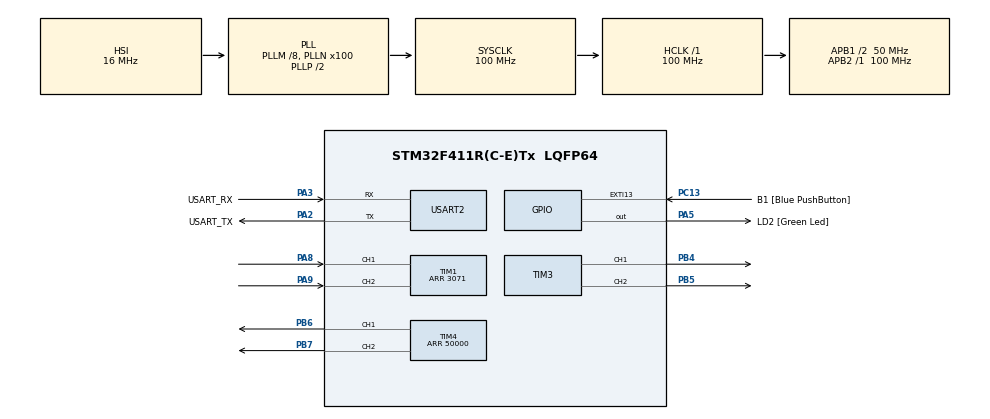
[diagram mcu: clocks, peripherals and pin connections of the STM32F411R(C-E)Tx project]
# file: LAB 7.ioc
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Mcu.Family=STM32F4
Mcu.Name=STM32F411R(C-E)Tx
Mcu.Package=LQFP64
NVIC.PriorityGroup=NVIC_PRIORITYGROUP_0
NVIC.TIM2_IRQn=true\:0\:0\:false\:false\:true\:true\:true
PA13.GPIO_Label=TMS
PA13.Mode=Serial_Wire
PA13.Signal=SYS_JTMS-SWDIO
PA14.GPIO_Label=TCK
PA14.Mode=Serial_Wire
PA14.Signal=SYS_JTCK-SWCLK
PA2.GPIO_Label=USART_TX
PA2.Mode=Asynchronous
PA2.Signal=USART2_TX
PA3.GPIO_Label=USART_RX
PA3.Mode=Asynchronous
PA3.Signal=USART2_RX
PA5.GPIO_Label=LD2 [Green Led]
PA5.Signal=GPIO_Output
PA8.Signal=S_TIM1_CH1
PA9.Signal=S_TIM1_CH2
PB3.GPIO_Label=SWO
PB3.Signal=SYS_JTDO-SWO
PB4.Signal=S_TIM3_CH1
PB5.Signal=S_TIM3_CH2
PB6.Signal=S_TIM4_CH1
PB7.Signal=S_TIM4_CH2
PC13-ANTI_TAMP.GPIO_Label=B1 [Blue PushButton]
PC13-ANTI_TAMP.GPIO_ModeDefaultEXTI=GPIO_MODE_IT_FALLING
PC13-ANTI_TAMP.Signal=GPXTI13
PC14-OSC32_IN.Mode=LSE-External-Oscillator
PC14-OSC32_IN.Signal=RCC_OSC32_IN
PC15-OSC32_OUT.Mode=LSE-External-Oscillator
PC15-OSC32_OUT.Signal=RCC_OSC32_OUT
PH0\ -\ OSC_IN.Mode=HSE-External-Clock-Source
PH0\ -\ OSC_IN.Signal=RCC_OSC_IN
PH1\ -\ OSC_OUT.Mode=HSE-External-Clock-Source
PH1\ -\ OSC_OUT.Signal=RCC_OSC_OUT
ProjectManager.HeapSize=0x200
ProjectManager.StackSize=0x400
ProjectManager.TargetToolchain=STM32CubeIDE
RCC.48MHZClocksFreq_Value=50000000
RCC.AHBFreq_Value=100000000
RCC.APB1CLKDivider=RCC_HCLK_DIV2
RCC.APB1Freq_Value=50000000
RCC.APB1TimFreq_Value=100000000
RCC.APB2Freq_Value=100000000
RCC.APB2TimFreq_Value=100000000
RCC.CortexFreq_Value=100000000
RCC.FLatency-AdvancedSettings=FLASH_LATENCY_3
RCC.HCLKFreq_Value=100000000
RCC.HSE_VALUE=8000000
RCC.HSI_VALUE=16000000
RCC.PLLM=8
RCC.PLLN=100
RCC.SYSCLKFreq_VALUE=100000000
RCC.SYSCLKSource=RCC_SYSCLKSOURCE_PLLCLK
RCC.VCOOutputFreq_Value=200000000
SH.S_TIM1_CH1.0=TIM1_CH1,Encoder_Interface
SH.S_TIM1_CH2.0=TIM1_CH2,Encoder_Interface
SH.S_TIM3_CH1.0=TIM3_CH1,PWM Generation1 CH1
SH.S_TIM3_CH2.0=TIM3_CH2,PWM Generation2 CH2
SH.S_TIM4_CH1.0=TIM4_CH1,PWM Generation1 CH1
SH.S_TIM4_CH2.0=TIM4_CH2,PWM Generation2 CH2
TIM1.Period=3071
TIM2.Prescaler=99
TIM3.Channel-PWM\ Generation1\ CH1=TIM_CHANNEL_1
TIM3.Channel-PWM\ Generation2\ CH2=TIM_CHANNEL_2
TIM4.Channel-PWM\ Generation1\ CH1=TIM_CHANNEL_1
TIM4.Channel-PWM\ Generation2\ CH2=TIM_CHANNEL_2
TIM4.Period=50000
USART2.VirtualMode=VM_ASYNC
VP_TIM2_VS_ClockSourceINT.Mode=Internal
VP_TIM4_VS_ClockSourceINT.Mode=Internal
board=NUCLEO-F411RE

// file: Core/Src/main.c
/* USER CODE BEGIN Header */
/**
 ******************************************************************************
 * @file           : main.c
 * @brief          : Main program body
 ******************************************************************************
 * @attention
 *
 * <h2><center>&copy; Copyright (c) 2021 STMicroelectronics.
 * All rights reserved.</center></h2>
 *
 * This software component is licensed by ST under BSD 3-Clause license,
 * the "License"; You may not use this file except in compliance with the
 * License. You may obtain a copy of the License at:
 *                        opensource.org/licenses/BSD-3-Clause
 *
 ******************************************************************************
 */
/* USER CODE END Header */
#include "main.h"

TIM_HandleTypeDef htim1;
TIM_HandleTypeDef htim2;
TIM_HandleTypeDef htim3;
TIM_HandleTypeDef htim4;

UART_HandleTypeDef huart2;

/* USER CODE BEGIN PV */
uint64_t _micros = 0;
float EncoderVel = 0;
uint64_t Timestamp_Encoder = 0;
float PWM1 = 0;
float PWM2 = 0;
float rpmsetpoint = 0;
float rpmnow = 0;
float error = 0;
float P = 0;
float Kp = 0;
float I = 0;
float Ki = 0;
float D = 0;
float Kd = 0;
float sumerror = 0;
float errornow = 0;
float errorpast = 0;
float diff = 0;
float PID = 0;

/* USER CODE END PV */

void SystemClock_Config(void);
static void MX_GPIO_Init(void);
static void MX_USART2_UART_Init(void);
static void MX_TIM1_Init(void);
static void MX_TIM2_Init(void);
static void MX_TIM3_Init(void);
static void MX_TIM4_Init(void);
/* USER CODE BEGIN PFP */
uint64_t micros();
float EncoderVelocity_Update();

/* USER CODE END PFP */

int main(void)
{

  /* MCU Configuration--------------------------------------------------------*/

  /* Reset of all peripherals, Initializes the Flash interface and the Systick. */
  HAL_Init();

  /* Configure the system clock */
  SystemClock_Config();

  /* Initialize all configured peripherals */
  MX_GPIO_Init();
  MX_USART2_UART_Init();
  MX_TIM1_Init();
  MX_TIM2_Init();
  MX_TIM3_Init();
  MX_TIM4_Init();
  /* USER CODE BEGIN 2 */
	HAL_TIM_Base_Start_IT(&htim2);
	HAL_TIM_Encoder_Start(&htim1, TIM_CHANNEL_ALL);
//	HAL_TIM_Base_Start_IT(&htim3);			//use tim3 as pwm
//	HAL_TIM_PWM_Start(&htim3, TIM_CHANNEL_1);
//	HAL_TIM_PWM_Start(&htim3, TIM_CHANNEL_2);
	HAL_TIM_Base_Start_IT(&htim4);			//use tim4 as pwm
	HAL_TIM_PWM_Start(&htim4, TIM_CHANNEL_1);
	HAL_TIM_PWM_Start(&htim4, TIM_CHANNEL_2);
  /* USER CODE END 2 */

  /* Infinite loop */
	while (1)
	{

    /* USER CODE BEGIN 3 */

		if (micros() - Timestamp_Encoder >= 1000)
		{
			Timestamp_Encoder = micros();
			EncoderVel = ((EncoderVel*99.0)+EncoderVelocity_Update())/100.0;  // make more details of encoder
			__HAL_TIM_SET_COMPARE(&htim4, TIM_CHANNEL_1, PWM1);		//to generate PWM
			__HAL_TIM_SET_COMPARE(&htim4, TIM_CHANNEL_2, PWM2);		//to generate PWM
			rpmnow = (EncoderVel*60)/1536;		//EncoderVel PPR>>rpm  //encoder 12 * motor 1:64	//QEI = 4*PPR but pulse width of encoder = QEI/2
			errornow = rpmsetpoint - rpmnow;
			sumerror += errornow;			 	//Integral
			diff = errornow - errorpast; 		//Diff
			P = Kp*errornow;
			I = Ki*sumerror;
			D = Kd*diff;
			PID = P+I+D;
			if ( rpmsetpoint > 0)
			{
				if (PWM1 >= 50000)
				{
					PWM1 = 50000;
				}
				PWM1 += PID;
				PWM2 = 0;
			}
			if (rpmsetpoint < 0)
			{
				PWM2 -= PID;
				PWM1 = 0;
				if (PWM1 >= 50000)
				{
					PWM1 = 50000;
				}
			}
			errorpast = errornow;
		}

	}
  /* USER CODE END 3 */
}

void SystemClock_Config(void)
{
  RCC_OscInitTypeDef RCC_OscInitStruct = {0};
  RCC_ClkInitTypeDef RCC_ClkInitStruct = {0};

  /** Configure the main internal regulator output voltage
  */
  __HAL_RCC_PWR_CLK_ENABLE();
  __HAL_PWR_VOLTAGESCALING_CONFIG(PWR_REGULATOR_VOLTAGE_SCALE1);
  /** Initializes the RCC Oscillators according to the specified parameters
  * in the RCC_OscInitTypeDef structure.
  */
  RCC_OscInitStruct.OscillatorType = RCC_OSCILLATORTYPE_HSI;
  RCC_OscInitStruct.HSIState = RCC_HSI_ON;
  RCC_OscInitStruct.HSICalibrationValue = RCC_HSICALIBRATION_DEFAULT;
  RCC_OscInitStruct.PLL.PLLState = RCC_PLL_ON;
  RCC_OscInitStruct.PLL.PLLSource = RCC_PLLSOURCE_HSI;
  RCC_OscInitStruct.PLL.PLLM = 8;
  RCC_OscInitStruct.PLL.PLLN = 100;
  RCC_OscInitStruct.PLL.PLLP = RCC_PLLP_DIV2;
  RCC_OscInitStruct.PLL.PLLQ = 4;
  if (HAL_RCC_OscConfig(&RCC_OscInitStruct) != HAL_OK)
  {
    Error_Handler();
  }
  /** Initializes the CPU, AHB and APB buses clocks
  */
  RCC_ClkInitStruct.ClockType = RCC_CLOCKTYPE_HCLK|RCC_CLOCKTYPE_SYSCLK
                              |RCC_CLOCKTYPE_PCLK1|RCC_CLOCKTYPE_PCLK2;
  RCC_ClkInitStruct.SYSCLKSource = RCC_SYSCLKSOURCE_PLLCLK;
  RCC_ClkInitStruct.AHBCLKDivider = RCC_SYSCLK_DIV1;
  RCC_ClkInitStruct.APB1CLKDivider = RCC_HCLK_DIV2;
  RCC_ClkInitStruct.APB2CLKDivider = RCC_HCLK_DIV1;

  if (HAL_RCC_ClockConfig(&RCC_ClkInitStruct, FLASH_LATENCY_3) != HAL_OK)
  {
    Error_Handler();
  }
}

static void MX_TIM1_Init(void)
{

  TIM_Encoder_InitTypeDef sConfig = {0};
  TIM_MasterConfigTypeDef sMasterConfig = {0};

  htim1.Instance = TIM1;
  htim1.Init.Prescaler = 0;
  htim1.Init.CounterMode = TIM_COUNTERMODE_UP;
  htim1.Init.Period = 3071;
  htim1.Init.ClockDivision = TIM_CLOCKDIVISION_DIV1;
  htim1.Init.RepetitionCounter = 0;
  htim1.Init.AutoReloadPreload = TIM_AUTORELOAD_PRELOAD_DISABLE;
  sConfig.EncoderMode = TIM_ENCODERMODE_TI1;
  sConfig.IC1Polarity = TIM_ICPOLARITY_RISING;
  sConfig.IC1Selection = TIM_ICSELECTION_DIRECTTI;
  sConfig.IC1Prescaler = TIM_ICPSC_DIV1;
  sConfig.IC1Filter = 0;
  sConfig.IC2Polarity = TIM_ICPOLARITY_RISING;
  sConfig.IC2Selection = TIM_ICSELECTION_DIRECTTI;
  sConfig.IC2Prescaler = TIM_ICPSC_DIV1;
  sConfig.IC2Filter = 0;
  if (HAL_TIM_Encoder_Init(&htim1, &sConfig) != HAL_OK)
  {
    Error_Handler();
  }
  sMasterConfig.MasterOutputTrigger = TIM_TRGO_RESET;
  sMasterConfig.MasterSlaveMode = TIM_MASTERSLAVEMODE_DISABLE;
  if (HAL_TIMEx_MasterConfigSynchronization(&htim1, &sMasterConfig) != HAL_OK)
  {
    Error_Handler();
  }

}

static void MX_TIM2_Init(void)
{

  TIM_ClockConfigTypeDef sClockSourceConfig = {0};
  TIM_MasterConfigTypeDef sMasterConfig = {0};

  htim2.Instance = TIM2;
  htim2.Init.Prescaler = 99;
  htim2.Init.CounterMode = TIM_COUNTERMODE_UP;
  htim2.Init.Period = 4294967295;
  htim2.Init.ClockDivision = TIM_CLOCKDIVISION_DIV1;
  htim2.Init.AutoReloadPreload = TIM_AUTORELOAD_PRELOAD_DISABLE;
  if (HAL_TIM_Base_Init(&htim2) != HAL_OK)
  {
    Error_Handler();
  }
  sClockSourceConfig.ClockSource = TIM_CLOCKSOURCE_INTERNAL;
  if (HAL_TIM_ConfigClockSource(&htim2, &sClockSourceConfig) != HAL_OK)
  {
    Error_Handler();
  }
  sMasterConfig.MasterOutputTrigger = TIM_TRGO_RESET;
  sMasterConfig.MasterSlaveMode = TIM_MASTERSLAVEMODE_DISABLE;
  if (HAL_TIMEx_MasterConfigSynchronization(&htim2, &sMasterConfig) != HAL_OK)
  {
    Error_Handler();
  }

}

static void MX_TIM3_Init(void)
{

  TIM_MasterConfigTypeDef sMasterConfig = {0};
  TIM_OC_InitTypeDef sConfigOC = {0};

  htim3.Instance = TIM3;
  htim3.Init.Prescaler = 0;
  htim3.Init.CounterMode = TIM_COUNTERMODE_UP;
  htim3.Init.Period = 65535;
  htim3.Init.ClockDivision = TIM_CLOCKDIVISION_DIV1;
  htim3.Init.AutoReloadPreload = TIM_AUTORELOAD_PRELOAD_DISABLE;
  if (HAL_TIM_PWM_Init(&htim3) != HAL_OK)
  {
    Error_Handler();
  }
  sMasterConfig.MasterOutputTrigger = TIM_TRGO_RESET;
  sMasterConfig.MasterSlaveMode = TIM_MASTERSLAVEMODE_DISABLE;
  if (HAL_TIMEx_MasterConfigSynchronization(&htim3, &sMasterConfig) != HAL_OK)
  {
    Error_Handler();
  }
  sConfigOC.OCMode = TIM_OCMODE_PWM1;
  sConfigOC.Pulse = 0;
  sConfigOC.OCPolarity = TIM_OCPOLARITY_HIGH;
  sConfigOC.OCFastMode = TIM_OCFAST_DISABLE;
  if (HAL_TIM_PWM_ConfigChannel(&htim3, &sConfigOC, TIM_CHANNEL_1) != HAL_OK)
  {
    Error_Handler();
  }
  if (HAL_TIM_PWM_ConfigChannel(&htim3, &sConfigOC, TIM_CHANNEL_2) != HAL_OK)
  {
    Error_Handler();
  }
  HAL_TIM_MspPostInit(&htim3);

}

static void MX_TIM4_Init(void)
{

  TIM_ClockConfigTypeDef sClockSourceConfig = {0};
  TIM_MasterConfigTypeDef sMasterConfig = {0};
  TIM_OC_InitTypeDef sConfigOC = {0};

  htim4.Instance = TIM4;
  htim4.Init.Prescaler = 0;
  htim4.Init.CounterMode = TIM_COUNTERMODE_UP;
  htim4.Init.Period = 50000;
  htim4.Init.ClockDivision = TIM_CLOCKDIVISION_DIV1;
  htim4.Init.AutoReloadPreload = TIM_AUTORELOAD_PRELOAD_DISABLE;
  if (HAL_TIM_Base_Init(&htim4) != HAL_OK)
  {
    Error_Handler();
  }
  sClockSourceConfig.ClockSource = TIM_CLOCKSOURCE_INTERNAL;
  if (HAL_TIM_ConfigClockSource(&htim4, &sClockSourceConfig) != HAL_OK)
  {
    Error_Handler();
  }
  if (HAL_TIM_PWM_Init(&htim4) != HAL_OK)
  {
    Error_Handler();
  }
  sMasterConfig.MasterOutputTrigger = TIM_TRGO_RESET;
  sMasterConfig.MasterSlaveMode = TIM_MASTERSLAVEMODE_DISABLE;
  if (HAL_TIMEx_MasterConfigSynchronization(&htim4, &sMasterConfig) != HAL_OK)
  {
    Error_Handler();
  }
  sConfigOC.OCMode = TIM_OCMODE_PWM1;
  sConfigOC.Pulse = 0;
  sConfigOC.OCPolarity = TIM_OCPOLARITY_HIGH;
  sConfigOC.OCFastMode = TIM_OCFAST_DISABLE;
  if (HAL_TIM_PWM_ConfigChannel(&htim4, &sConfigOC, TIM_CHANNEL_1) != HAL_OK)
  {
    Error_Handler();
  }
  if (HAL_TIM_PWM_ConfigChannel(&htim4, &sConfigOC, TIM_CHANNEL_2) != HAL_OK)
  {
    Error_Handler();
  }
  HAL_TIM_MspPostInit(&htim4);

}

static void MX_USART2_UART_Init(void)
{

  huart2.Instance = USART2;
  huart2.Init.BaudRate = 115200;
  huart2.Init.WordLength = UART_WORDLENGTH_8B;
  huart2.Init.StopBits = UART_STOPBITS_1;
  huart2.Init.Parity = UART_PARITY_NONE;
  huart2.Init.Mode = UART_MODE_TX_RX;
  huart2.Init.HwFlowCtl = UART_HWCONTROL_NONE;
  huart2.Init.OverSampling = UART_OVERSAMPLING_16;
  if (HAL_UART_Init(&huart2) != HAL_OK)
  {
    Error_Handler();
  }

}

static void MX_GPIO_Init(void)
{
  GPIO_InitTypeDef GPIO_InitStruct = {0};

  /* GPIO Ports Clock Enable */
  __HAL_RCC_GPIOC_CLK_ENABLE();
  __HAL_RCC_GPIOH_CLK_ENABLE();
  __HAL_RCC_GPIOA_CLK_ENABLE();
  __HAL_RCC_GPIOB_CLK_ENABLE();

  /*Configure GPIO pin Output Level */
  HAL_GPIO_WritePin(LD2_GPIO_Port, LD2_Pin, GPIO_PIN_RESET);

  /*Configure GPIO pin : B1_Pin */
  GPIO_InitStruct.Pin = B1_Pin;
  GPIO_InitStruct.Mode = GPIO_MODE_IT_FALLING;
  GPIO_InitStruct.Pull = GPIO_NOPULL;
  HAL_GPIO_Init(B1_GPIO_Port, &GPIO_InitStruct);

  /*Configure GPIO pin : LD2_Pin */
  GPIO_InitStruct.Pin = LD2_Pin;
  GPIO_InitStruct.Mode = GPIO_MODE_OUTPUT_PP;
  GPIO_InitStruct.Pull = GPIO_NOPULL;
  GPIO_InitStruct.Speed = GPIO_SPEED_FREQ_LOW;
  HAL_GPIO_Init(LD2_GPIO_Port, &GPIO_InitStruct);

}

/* USER CODE BEGIN 4 */
#define  HTIM_ENCODER htim1
#define  MAX_SUBPOSITION_OVERFLOW 1536
#define  MAX_ENCODER_PERIOD 3072

float EncoderVelocity_Update()
{
	//Save Last state
	static uint32_t EncoderLastPosition = 0;
	static uint64_t EncoderLastTimestamp = 0;

	//read data
	uint32_t EncoderNowPosition = HTIM_ENCODER.Instance->CNT;
	uint64_t EncoderNowTimestamp = micros();

	int32_t EncoderPositionDiff;
	uint64_t EncoderTimeDiff;

	EncoderTimeDiff = EncoderNowTimestamp - EncoderLastTimestamp;
	EncoderPositionDiff = EncoderNowPosition - EncoderLastPosition;

	//compensate overflow and underflow
	if (EncoderPositionDiff >= MAX_SUBPOSITION_OVERFLOW)
	{
		EncoderPositionDiff -= MAX_ENCODER_PERIOD;
	}
	else if (-EncoderPositionDiff >= MAX_SUBPOSITION_OVERFLOW)
	{
		EncoderPositionDiff += MAX_ENCODER_PERIOD;
	}

	//Update Position and time
	EncoderLastPosition = EncoderNowPosition;
	EncoderLastTimestamp = EncoderNowTimestamp;

	//Calculate velocity
	//EncoderTimeDiff is in uS
	return (EncoderPositionDiff * 1000000) / (float) EncoderTimeDiff;

}

void HAL_TIM_PeriodElapsedCallback(TIM_HandleTypeDef *htim)
{
	if (htim == &htim2)
	{
		_micros += 4294967295;
	}
}
uint64_t micros()
{
	return _micros + htim2.Instance->CNT;
}
/* USER CODE END 4 */

void Error_Handler(void)
{
	__disable_irq();
	while (1)
	{
	}
}

/************************ (C) COPYRIGHT STMicroelectronics *****END OF FILE****/
